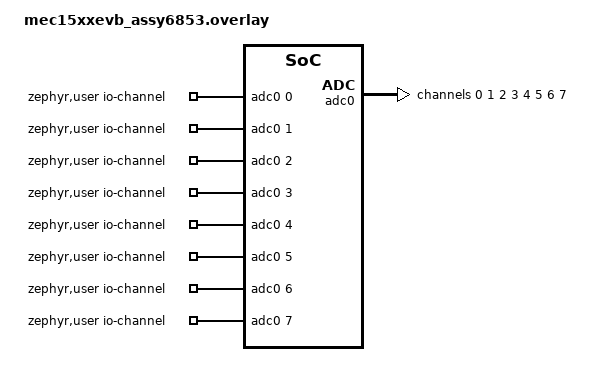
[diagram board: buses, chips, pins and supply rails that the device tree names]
/*
 * SPDX-License-Identifier: Apache-2.0
 *
 * Copyright (c) 2023 Microchip Technology Inc.
 */

/ {
	zephyr,user {
		io-channels = <&adc0 0>, <&adc0 1>, <&adc0 2>, <&adc0 3>, <&adc0 4>, <&adc0 5>, <&adc0 6>, <&adc0 7>;
	};
};
&adc0 {
	#address-cells = <1>;
	#size-cells = <0>;

        channel@0 {
                reg = <0>;
                zephyr,gain = "ADC_GAIN_1";
                zephyr,reference = "ADC_REF_INTERNAL";
                zephyr,acquisition-time = <0>;
                zephyr,resolution = <12>;
        };
        channel@1 {
                reg = <1>;
                zephyr,gain = "ADC_GAIN_1";
                zephyr,reference = "ADC_REF_INTERNAL";
                zephyr,acquisition-time = <0>;
                zephyr,resolution = <12>;
        };
        channel@2 {
                reg = <2>;
                zephyr,gain = "ADC_GAIN_1";
                zephyr,reference = "ADC_REF_INTERNAL";
                zephyr,acquisition-time = <0>;
                zephyr,resolution = <12>;
        };
        channel@3 {
                reg = <3>;
                zephyr,gain = "ADC_GAIN_1";
                zephyr,reference = "ADC_REF_INTERNAL";
                zephyr,acquisition-time = <0>;
                zephyr,resolution = <12>;
        };
	channel@4 {
		reg = <4>;
		zephyr,gain = "ADC_GAIN_1";
		zephyr,reference = "ADC_REF_INTERNAL";
		zephyr,acquisition-time = <0>;
		zephyr,resolution = <12>;
	};
	channel@5 {
		reg = <5>;
		zephyr,gain = "ADC_GAIN_1";
		zephyr,reference = "ADC_REF_INTERNAL";
		zephyr,acquisition-time = <0>;
		zephyr,resolution = <12>;
	};
	channel@6 {
		reg = <6>;
		zephyr,gain = "ADC_GAIN_1";
		zephyr,reference = "ADC_REF_INTERNAL";
		zephyr,acquisition-time = <0>;
		zephyr,resolution = <12>;
	};
	channel@7 {
		reg = <7>;
		zephyr,gain = "ADC_GAIN_1";
		zephyr,reference = "ADC_REF_INTERNAL";
		zephyr,acquisition-time = <0>;
		zephyr,resolution = <12>;
	};
};
